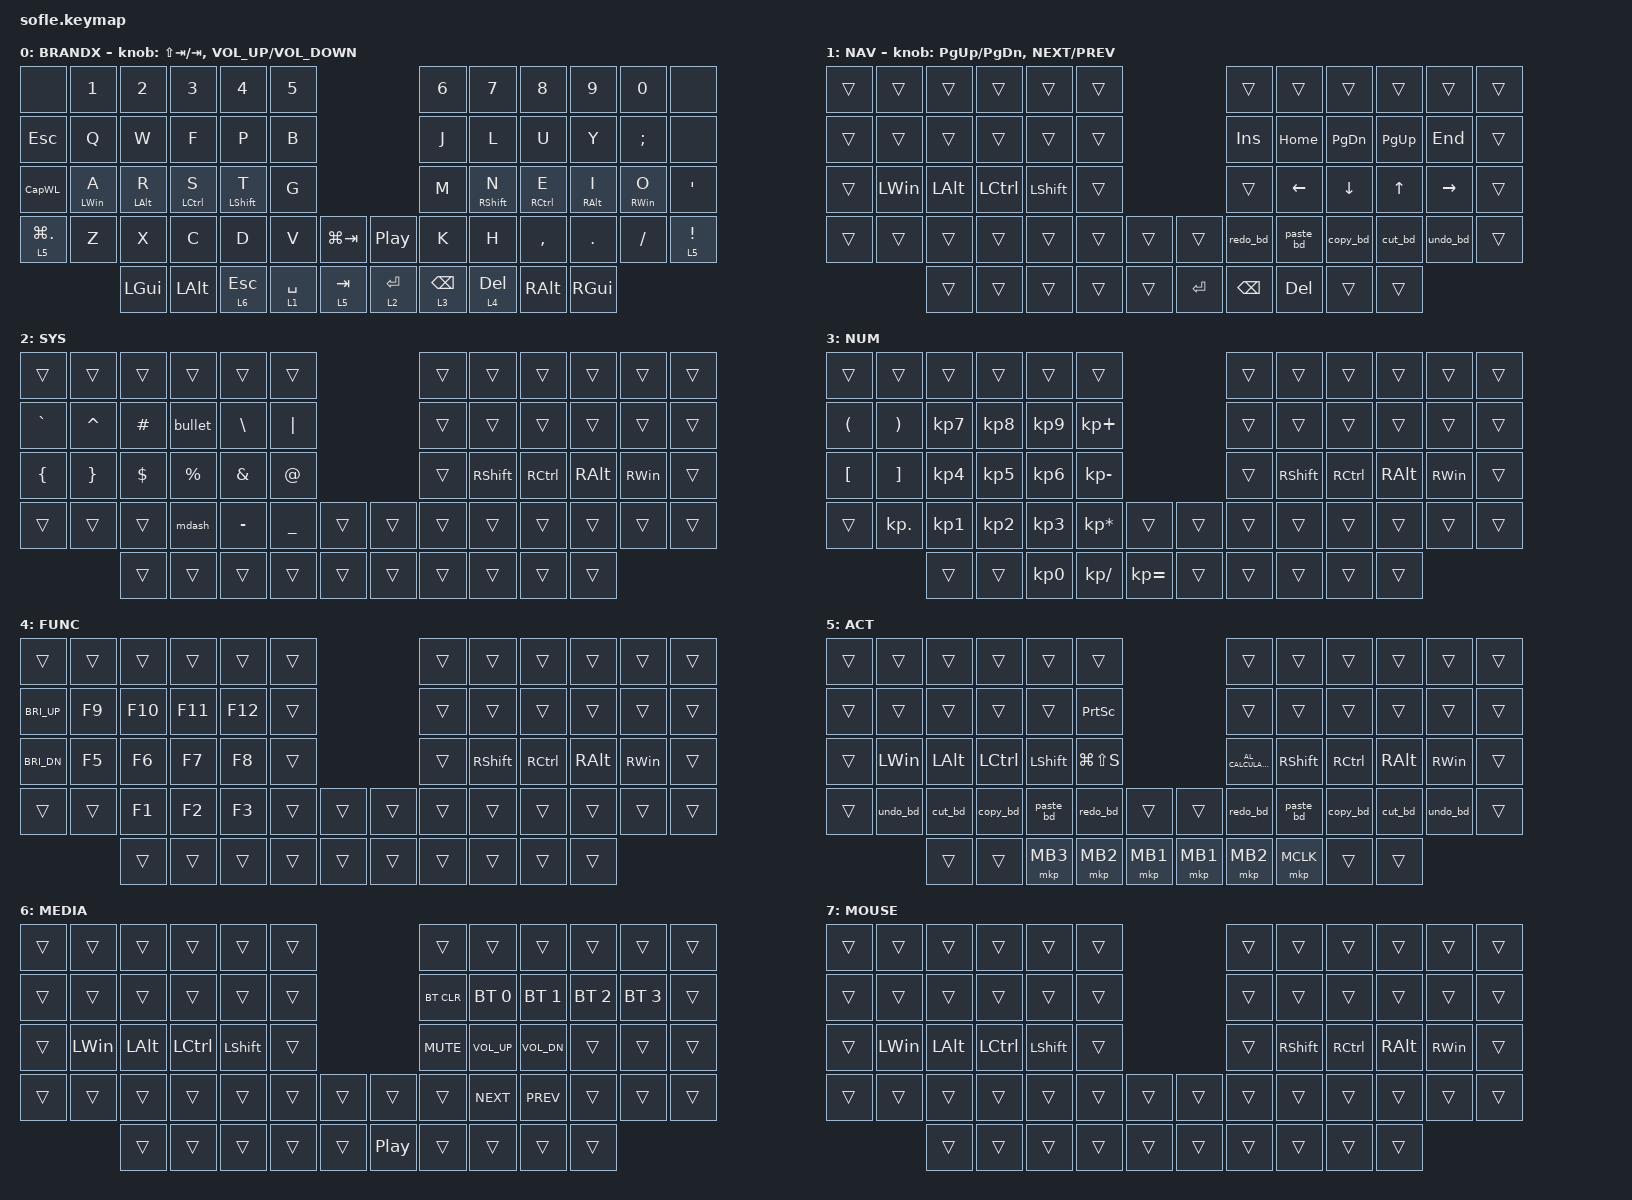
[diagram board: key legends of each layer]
/*
 * Copyright (c) 2020 The ZMK Contributors
 *
 * SPDX-License-Identifier: MIT
 */

#include <behaviors.dtsi>
#include <dt-bindings/zmk/bt.h>
#include <dt-bindings/zmk/keys.h>
#include <dt-bindings/zmk/pointing.h>

#define BASE 0
#define LOWER 1
#define RAISE 2
#define ADJUST 3

&sensors {
    status = "okay";

    // Set this value to the number of physical clicks in one full turn

    triggers-per-rotation = <40>;
};

/ {
    // Activate ADJUST layer by pressing raise and lower

    conditional_layers {
        compatible = "zmk,conditional-layers";

        adjust_layer {
            if-layers = <1 1>;
            then-layer = <1>;
        };
    };

    behaviors {
        mt_HRM: mt_HRM {
            compatible = "zmk,behavior-hold-tap";
            label = "MT_HRM";
            bindings = <&kp>, <&kp>;

            #binding-cells = <2>;
            tapping-term-ms = <260>;
            flavor = "tap-preferred";
        };

        CapWL: CapWL {
            compatible = "zmk,behavior-tap-dance";
            label = "CAPWL";
            #binding-cells = <0>;
            bindings = <&caps_word>, <&kp CAPS>;
        };

        lt_bdx: lt_bdx {
            compatible = "zmk,behavior-hold-tap";
            label = "LT_BDX";
            bindings = <&mo>, <&kp>;

            #binding-cells = <2>;
            tapping-term-ms = <260>;
            flavor = "tap-preferred";
        };
    };

    combos {
        compatible = "zmk,combos";

        delete {
            bindings = <&kp DEL>;
            key-positions = <53 56>;
        };
    };

    macros {
        undo_bd: undo_bd {
            compatible = "zmk,behavior-macro";
            #binding-cells = <0>;
            bindings = <&kp LC(Z)>;
            label = "UNDO_BD";
        };

        redo_bd: redo_bd {
            compatible = "zmk,behavior-macro";
            #binding-cells = <0>;
            bindings = <&kp LC(RS(Z))>;
            label = "REDO_BD";
        };

        cut_bd: cut_bd {
            compatible = "zmk,behavior-macro";
            #binding-cells = <0>;
            bindings = <&kp LC(X)>;
            label = "CUT_BD";
        };

        copy_bd: copy_bd {
            compatible = "zmk,behavior-macro";
            #binding-cells = <0>;
            bindings = <&kp LC(C)>;
            label = "COPY_BD";
        };

        paste_bd: paste_bd {
            compatible = "zmk,behavior-macro";
            #binding-cells = <0>;
            bindings = <&kp LC(V)>;
            label = "PASTE_BD";
        };

        bullet: bullet {
            compatible = "zmk,behavior-macro";
            #binding-cells = <0>;
            bindings =
                <&macro_press>,
                <&kp LEFT_ALT>,
                <&macro_tap>,
                <&kp KP_NUMBER_0 &kp KP_NUMBER_1 &kp KP_NUMBER_4 &kp KP_NUMBER_9>,
                <&macro_release>,
                <&kp LEFT_ALT>;

            label = "BULLET";
        };

        mdash: mdash {
            compatible = "zmk,behavior-macro";
            #binding-cells = <0>;
            bindings =
                <&macro_press>,
                <&kp LEFT_ALT>,
                <&macro_tap>,
                <&kp KP_NUMBER_2 &kp KP_N0 &kp KP_NUMBER_1 &kp KP_NUMBER_4>,
                <&macro_release>,
                <&kp LEFT_ALT>;

            label = "MDASH";
        };
    };

    keymap {
        compatible = "zmk,keymap";

        default_layer {
            display-name = "BRANDX";

            // ------------------------------------------------------------------------------------------------------------
            // |   `   |  1  |  2  |  3   |  4   |  5   |                   |  6   |  7    |  8    |  9   |   0   |       |
            // |  ESC  |  Q  |  W  |  E   |  R   |  T   |                   |  Y   |  U    |  I    |  O   |   P   | BKSPC |
            // |  TAB  |  A  |  S  |  D   |  F   |  G   |                   |  H   |  J    |  K    |  L   |   ;   |   '   |
            // | SHIFT |  Z  |  X  |  C   |  V   |  B   |  MUTE  |  |       |  N   |  M    |  ,    |  .   |   /   | SHIFT |
            //               | GUI | ALT  | CTRL | LOWER|  ENTER |  | SPACE | RAISE| CTRL  | ALT   | GUI  |

            bindings = <
&none             &kp N1              &kp N2              &kp N3                  &kp N4                &kp N5                                            &kp N6           &kp N7                 &kp N8                   &kp N9               &kp N0               &none
&kp ESCAPE        &kp Q               &kp W               &kp F                   &kp P                 &kp B                                             &kp J            &kp L                  &kp U                    &kp Y                &kp SEMICOLON        &none
&CapWL            &mt_HRM LEFT_WIN A  &mt_HRM LEFT_ALT R  &mt_HRM LEFT_CONTROL S  &mt_HRM LEFT_SHIFT T  &kp G                                             &kp M            &mt_HRM RIGHT_SHIFT N  &mt_HRM RIGHT_CONTROL E  &mt_HRM RIGHT_ALT I  &mt_HRM RIGHT_WIN O  &kp SQT
&lt 5 LG(PERIOD)  &kp Z               &kp X               &kp C                   &kp D                 &kp V            &kp LG(TAB)    &kp C_PLAY_PAUSE  &kp K            &kp H                  &kp COMMA                &kp DOT              &kp FSLH             &lt 5 EXCLAMATION
                                      &kp LGUI            &kp LALT                &lt_bdx 6 ESCAPE      &lt_bdx 1 SPACE  &lt 5 TAB      &lt 2 ENTER       &lt 3 BACKSPACE  &lt_bdx 4 DEL          &kp RALT                 &kp RGUI
            >;

            sensor-bindings =
                <&inc_dec_kp LS(TAB) TAB>,
                <&inc_dec_kp C_VOLUME_UP C_VOLUME_DOWN>;
        };

        layer_NAV {
            display-name = "NAV";
            bindings = <
&trans  &trans        &trans        &trans            &trans          &trans                        &trans         &trans          &trans          &trans        &trans           &trans
&trans  &trans        &trans        &trans            &trans          &trans                        &kp INS        &kp HOME        &kp PAGE_DOWN   &kp PAGE_UP   &kp END          &trans
&trans  &kp LEFT_WIN  &kp LEFT_ALT  &kp LEFT_CONTROL  &kp LEFT_SHIFT  &trans                        &trans         &kp LEFT_ARROW  &kp DOWN_ARROW  &kp UP_ARROW  &kp RIGHT_ARROW  &trans
&trans  &trans        &trans        &trans            &trans          &trans  &trans    &trans      &redo_bd       &paste_bd       &copy_bd        &cut_bd       &undo_bd         &trans
                      &trans        &trans            &trans          &trans  &trans    &kp RETURN  &kp BACKSPACE  &kp DELETE      &trans          &trans
            >;

            sensor-bindings =
                <&inc_dec_kp PAGE_UP PAGE_DOWN>,
                <&inc_dec_kp C_NEXT C_PREV>;
        };

        layer_SYS {
            display-name = "SYS";
            bindings = <
&trans          &trans           &trans      &trans       &trans         &trans                         &trans  &trans           &trans             &trans         &trans         &trans
&kp GRAVE       &kp CARET        &kp POUND   &bullet      &kp BACKSLASH  &kp PIPE                       &trans  &trans           &trans             &trans         &trans         &trans
&kp LEFT_BRACE  &kp RIGHT_BRACE  &kp DOLLAR  &kp PERCENT  &kp AMPERSAND  &kp AT_SIGN                    &trans  &kp RIGHT_SHIFT  &kp RIGHT_CONTROL  &kp RIGHT_ALT  &kp RIGHT_WIN  &trans
&trans          &trans           &trans      &mdash       &kp MINUS      &kp UNDER    &trans    &trans  &trans  &trans           &trans             &trans         &trans         &trans
                                 &trans      &trans       &trans         &trans       &trans    &trans  &trans  &trans           &trans             &trans
            >;
        };

        layer_NUM {
            display-name = "NUM";
            bindings = <
&trans                &trans                 &trans           &trans           &trans           &trans                                   &trans  &trans           &trans             &trans         &trans         &trans
&kp LEFT_PARENTHESIS  &kp RIGHT_PARENTHESIS  &kp KP_NUMBER_7  &kp KP_NUMBER_8  &kp KP_NUMBER_9  &kp KP_PLUS                              &trans  &trans           &trans             &trans         &trans         &trans
&kp LEFT_BRACKET      &kp RIGHT_BRACKET      &kp KP_NUMBER_4  &kp KP_NUMBER_5  &kp KP_NUMBER_6  &kp KP_MINUS                             &trans  &kp RIGHT_SHIFT  &kp RIGHT_CONTROL  &kp RIGHT_ALT  &kp RIGHT_WIN  &trans
&trans                &kp KP_DOT             &kp KP_NUMBER_1  &kp KP_NUMBER_2  &kp KP_NUMBER_3  &kp KP_MULTIPLY  &trans          &trans  &trans  &trans           &trans             &trans         &trans         &trans
                                             &trans           &trans           &kp KP_NUMBER_0  &kp KP_DIVIDE    &kp KP_EQUAL    &trans  &trans  &trans           &trans             &trans
            >;
        };

        layer_FUNC {
            display-name = "FUNC";
            bindings = <
&trans        &trans  &trans   &trans   &trans   &trans                    &trans  &trans           &trans             &trans         &trans         &trans
&kp C_BRI_UP  &kp F9  &kp F10  &kp F11  &kp F12  &trans                    &trans  &trans           &trans             &trans         &trans         &trans
&kp C_BRI_DN  &kp F5  &kp F6   &kp F7   &kp F8   &trans                    &trans  &kp RIGHT_SHIFT  &kp RIGHT_CONTROL  &kp RIGHT_ALT  &kp RIGHT_WIN  &trans
&trans        &trans  &kp F1   &kp F2   &kp F3   &trans  &trans    &trans  &trans  &trans           &trans             &trans         &trans         &trans
                      &trans   &trans   &trans   &trans  &trans    &trans  &trans  &trans           &trans             &trans
            >;
        };

        layer_ACT {
            display-name = "ACT";
            bindings = <
&trans  &trans        &trans        &trans            &trans          &trans                                 &trans               &trans           &trans             &trans         &trans         &trans
&trans  &trans        &trans        &trans            &trans          &kp PRINTSCREEN                        &trans               &trans           &trans             &trans         &trans         &trans
&trans  &kp LEFT_WIN  &kp LEFT_ALT  &kp LEFT_CONTROL  &kp LEFT_SHIFT  &kp LG(LS(S))                          &kp C_AL_CALCULATOR  &kp RIGHT_SHIFT  &kp RIGHT_CONTROL  &kp RIGHT_ALT  &kp RIGHT_WIN  &trans
&trans  &undo_bd      &cut_bd       &copy_bd          &paste_bd       &redo_bd         &trans      &trans    &redo_bd             &paste_bd        &copy_bd           &cut_bd        &undo_bd       &trans
                      &trans        &trans            &mkp MB3        &mkp MB2         &mkp MB1    &mkp MB1  &mkp MB2             &mkp MCLK        &trans             &trans
            >;
        };

        layer_MEDIA {
            display-name = "MEDIA";
            bindings = <
&trans  &trans        &trans        &trans            &trans          &trans                              &trans      &trans           &trans        &trans        &trans        &trans
&trans  &trans        &trans        &trans            &trans          &trans                              &bt BT_CLR  &bt BT_SEL 0     &bt BT_SEL 1  &bt BT_SEL 2  &bt BT_SEL 3  &trans
&trans  &kp LEFT_WIN  &kp LEFT_ALT  &kp LEFT_CONTROL  &kp LEFT_SHIFT  &trans                              &kp C_MUTE  &kp C_VOLUME_UP  &kp C_VOL_DN  &trans        &trans        &trans
&trans  &trans        &trans        &trans            &trans          &trans  &trans    &trans            &trans      &kp C_NEXT       &kp C_PREV    &trans        &trans        &trans
                      &trans        &trans            &trans          &trans  &trans    &kp C_PLAY_PAUSE  &trans      &trans           &trans        &trans
            >;
        };

        layer_7 {
            display-name = "MOUSE";
            bindings = <
&trans  &trans        &trans        &trans            &trans          &trans                    &trans  &trans           &trans             &trans         &trans         &trans
&trans  &trans        &trans        &trans            &trans          &trans                    &trans  &trans           &trans             &trans         &trans         &trans
&trans  &kp LEFT_WIN  &kp LEFT_ALT  &kp LEFT_CONTROL  &kp LEFT_SHIFT  &trans                    &trans  &kp RIGHT_SHIFT  &kp RIGHT_CONTROL  &kp RIGHT_ALT  &kp RIGHT_WIN  &trans
&trans  &trans        &trans        &trans            &trans          &trans  &trans    &trans  &trans  &trans           &trans             &trans         &trans         &trans
                      &trans        &trans            &trans          &trans  &trans    &trans  &trans  &trans           &trans             &trans
            >;
        };
    };
};
